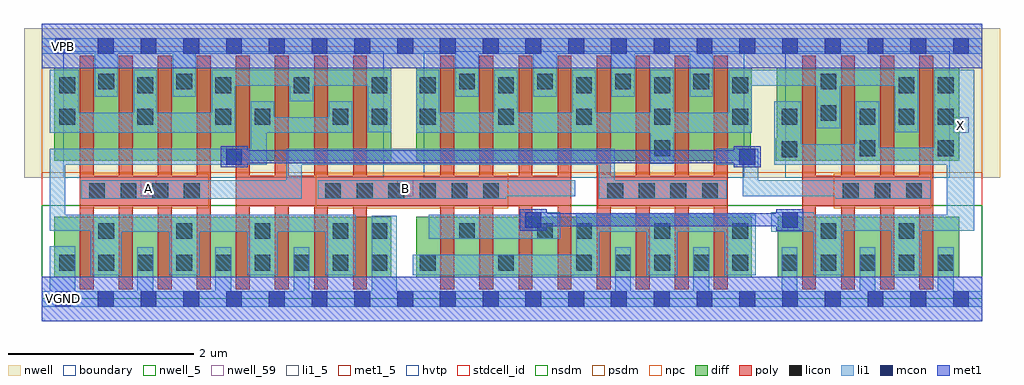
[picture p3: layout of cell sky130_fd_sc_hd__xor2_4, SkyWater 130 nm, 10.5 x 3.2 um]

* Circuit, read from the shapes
.subckt sky130_fd_sc_hd__xor2_4 A B VGND VNB VPB VPWR X
XM1 n1 A VGND VNB sky130_fd_pr__nfet_01v8 w=0.65 l=0.15 m=4
XM2 n1 B VGND VNB sky130_fd_pr__nfet_01v8 w=0.65 l=0.15 m=4
XM3 X B n2 VNB sky130_fd_pr__nfet_01v8 w=0.65 l=0.15 m=4
XM4 VGND A n2 VNB sky130_fd_pr__nfet_01v8 w=0.65 l=0.15 m=4
XM5 X n1 VGND VNB sky130_fd_pr__nfet_01v8 w=0.65 l=0.15 m=4
XM6 VPWR A n3 VPB sky130_fd_pr__pfet_01v8_hvt w=1 l=0.15 m=4
XM7 n1 B n3 VPB sky130_fd_pr__pfet_01v8_hvt w=1 l=0.15 m=4
XM8 VPWR B n4 VPB sky130_fd_pr__pfet_01v8_hvt w=1 l=0.15 m=4
XM9 VPWR A n4 VPB sky130_fd_pr__pfet_01v8_hvt w=1 l=0.15 m=4
XM10 n4 n1 X VPB sky130_fd_pr__pfet_01v8_hvt w=1 l=0.15 m=4
.ends

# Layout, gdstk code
import gdstk
lib = gdstk.Library(unit=1e-6, precision=1e-09)
def R(c, l, rs):  # rectangles x0, y0, x1, y1
    for r in rs: c.add(gdstk.rectangle(r[:2], r[2:], *l))
def A(c, l, x, y, w, h, nx, ny, dx, dy):  # array of equal rectangles
    R(c, l, [(x+i*dx, y+j*dy, x+i*dx+w, y+j*dy+h) for i in range(nx) for j in range(ny)])
nwell_5 = (64, 5)
nwell = (64, 20)
nwell_59 = (64, 59)
diff = (65, 20)
poly = (66, 20)
licon = (66, 44)
li1_5 = (67, 5)
li1 = (67, 20)
mcon = (67, 44)
met1_5 = (68, 5)
met1 = (68, 20)
hvtp = (78, 44)
stdcell_id = (81, 4)
nsdm = (93, 44)
psdm = (94, 20)
npc = (95, 20)
boundary = (235, 4)

sky130_fd_sc_hd__xor2_4 = lib.new_cell('sky130_fd_sc_hd__xor2_4')
R(sky130_fd_sc_hd__xor2_4, nwell_5, [(0.145,2.635,0.315,2.805)])
R(sky130_fd_sc_hd__xor2_4, nwell, [(-0.19,1.305,10.31,2.91)])
R(sky130_fd_sc_hd__xor2_4, nwell_59, [(0.145,-0.085,0.315,0.085)])
R(sky130_fd_sc_hd__xor2_4, diff, [(0.135,0.235,3.76,0.885), (4.03,0.235,7.64,0.885), (7.92,0.235,9.87,0.885), (0.135,1.485,3.76,2.485), (4.03,1.485,7.63,1.805), (7.9,1.485,9.87,1.73), (7.91,1.73,9.87,2.485), (4.03,1.805,7.64,2.485)])
A(sky130_fd_sc_hd__xor2_4, poly, 0.41, 0.105, 0.15, 0.89, 8, 1, 0.42, 0)
A(sky130_fd_sc_hd__xor2_4, poly, 4.29, 0.105, 0.15, 0.89, 8, 1, 0.42, 0)
A(sky130_fd_sc_hd__xor2_4, poly, 8.18, 0.105, 0.15, 0.89, 4, 1, 0.42, 0)
A(sky130_fd_sc_hd__xor2_4, poly, 0.41, 1.325, 0.15, 1.29, 8, 1, 0.42, 0)
A(sky130_fd_sc_hd__xor2_4, poly, 4.29, 1.325, 0.15, 1.29, 8, 1, 0.42, 0)
A(sky130_fd_sc_hd__xor2_4, poly, 8.18, 1.325, 0.15, 1.29, 4, 1, 0.42, 0)
R(sky130_fd_sc_hd__xor2_4, poly, [(0.41,0.995,1.82,1.325), (2.09,0.995,5.7,1.325), (5.97,0.995,7.38,1.325), (8.18,0.995,9.59,1.325)])
A(sky130_fd_sc_hd__xor2_4, licon, 0.19, 0.305, 0.17, 0.17, 9, 1, 0.42, 0)
A(sky130_fd_sc_hd__xor2_4, licon, 4.07, 0.305, 0.17, 0.17, 3, 1, 0.84, 0)
A(sky130_fd_sc_hd__xor2_4, licon, 6.17, 0.305, 0.17, 0.17, 4, 1, 0.42, 0)
A(sky130_fd_sc_hd__xor2_4, licon, 7.96, 0.305, 0.17, 0.17, 5, 1, 0.42, 0)
A(sky130_fd_sc_hd__xor2_4, licon, 0.61, 0.645, 0.17, 0.17, 4, 1, 0.84, 0)
A(sky130_fd_sc_hd__xor2_4, licon, 5.75, 0.645, 0.17, 0.17, 3, 1, 0.84, 0)
A(sky130_fd_sc_hd__xor2_4, licon, 0.51, 1.075, 0.17, 0.17, 4, 1, 0.34, 0)
A(sky130_fd_sc_hd__xor2_4, licon, 3.05, 1.075, 0.17, 0.17, 6, 1, 0.34, 0)
A(sky130_fd_sc_hd__xor2_4, licon, 6.085, 1.075, 0.17, 0.17, 4, 1, 0.34, 0)
A(sky130_fd_sc_hd__xor2_4, licon, 8.62, 1.075, 0.17, 0.17, 3, 1, 0.34, 0)
A(sky130_fd_sc_hd__xor2_4, licon, 0.19, 1.875, 0.17, 0.17, 3, 1, 0.84, 0)
A(sky130_fd_sc_hd__xor2_4, licon, 4.07, 1.875, 0.17, 0.17, 5, 2, 0.84, 0.34)
A(sky130_fd_sc_hd__xor2_4, licon, 8.8, 1.875, 0.17, 0.17, 3, 1, 0.42, 0)
A(sky130_fd_sc_hd__xor2_4, licon, 0.19, 2.215, 0.17, 0.17, 5, 1, 0.84, 0)
A(sky130_fd_sc_hd__xor2_4, licon, 4.49, 2.255, 0.17, 0.17, 4, 1, 0.84, 0)
R(sky130_fd_sc_hd__xor2_4, licon, [(3.55,0.645,3.72,0.815), (4.49,0.645,4.66,0.815), (5.33,0.645,5.5,0.815), (8.38,0.645,8.55,0.815), (9.22,0.645,9.39,0.815), (7.96,1.525,8.13,1.695), (6.59,1.535,6.76,1.705), (8.8,1.535,8.97,1.705), (9.64,1.535,9.81,1.705), (2.29,1.875,2.46,2.045), (3.13,1.875,3.3,2.045), (3.55,1.875,3.72,2.045), (7.96,1.875,8.13,2.045), (8.38,1.915,8.55,2.085), (9.22,2.215,9.39,2.385), (9.64,2.215,9.81,2.385), (0.61,2.255,0.78,2.425), (1.45,2.255,1.62,2.425), (8.38,2.255,8.55,2.425)])
R(sky130_fd_sc_hd__xor2_4, li1_5, [(1.065,1.105,1.235,1.275), (3.825,1.105,3.995,1.275), (9.805,1.785,9.975,1.955)])
A(sky130_fd_sc_hd__xor2_4, li1, 1.03, 0.085, 0.17, 0.47, 3, 1, 0.84, 0)
A(sky130_fd_sc_hd__xor2_4, li1, 7.96, 0.085, 0.17, 0.47, 3, 1, 0.84, 0)
A(sky130_fd_sc_hd__xor2_4, li1, 0.53, 0.255, 0.33, 0.47, 4, 1, 0.84, 0)
A(sky130_fd_sc_hd__xor2_4, li1, 4.03, 2.005, 0.25, 0.46, 4, 1, 0.84, 0)
A(sky130_fd_sc_hd__xor2_4, li1, 4.45, 2.175, 0.25, 0.46, 4, 1, 0.84, 0)
R(sky130_fd_sc_hd__xor2_4, li1, [(0,-0.085,10.12,0.085), (0.085,0.085,0.36,0.565), (3.55,0.085,3.82,0.895), (6.17,0.085,6.34,0.555), (7.01,0.085,7.18,0.555), (3.99,0.255,6,0.475), (6.51,0.255,6.84,0.725), (7.35,0.255,7.68,0.725), (8.3,0.255,8.63,0.725), (9.14,0.255,9.47,0.735), (5.75,0.475,6,0.725), (4.165,0.645,5.58,0.905), (0.53,0.725,3.38,0.735), (5.75,0.725,7.68,0.905), (7.85,0.725,8.63,0.735), (0.085,0.735,3.38,0.905), (7.85,0.735,10.035,0.905), (0.085,0.905,0.255,1.445), (5.15,0.905,5.58,0.935), (7.85,0.905,8.305,0.935), (9.735,0.905,10.035,1.445), (0.425,1.075,2.8,1.275), (2.97,1.075,5,1.105), (5.995,1.075,7.37,1.275), (8.54,1.075,9.565,1.105), (2.97,1.105,5.74,1.275), (7.54,1.105,9.565,1.275), (2.63,1.275,2.8,1.445), (5.995,1.275,6.165,1.445), (7.54,1.275,7.71,1.445), (0.085,1.445,2.42,1.615), (2.63,1.445,6.165,1.615), (7.26,1.445,7.71,1.615), (7.88,1.445,10.035,1.625), (6.55,1.455,6.8,1.785), (2.25,1.615,2.42,1.785), (7.88,1.625,9.01,1.665), (9.6,1.625,10.035,2.465), (7.88,1.665,8.17,2.125), (8.76,1.665,9.01,2.125), (0.085,1.785,2.08,2.005), (2.25,1.785,3.34,1.955), (4.03,1.785,7.64,2.005), (3.51,1.795,3.76,2.295), (9.18,1.795,9.43,2.295), (8.34,1.835,8.59,2.295), (2.25,1.955,2.5,2.125), (3.09,1.955,3.34,2.125), (0.085,2.005,0.4,2.465), (0.99,2.005,1.24,2.465), (1.83,2.005,2.08,2.295), (7.39,2.005,7.64,2.295), (2.67,2.125,2.92,2.295), (0.57,2.175,0.82,2.635), (1.41,2.175,1.66,2.635), (1.83,2.295,3.76,2.465), (7.39,2.295,9.43,2.465), (0,2.635,10.12,2.805)])
A(sky130_fd_sc_hd__xor2_4, mcon, 0.145, -0.085, 0.17, 0.17, 22, 2, 0.46, 2.72)
R(sky130_fd_sc_hd__xor2_4, mcon, [(5.205,0.765,5.375,0.935), (7.965,0.765,8.135,0.935), (1.985,1.445,2.155,1.615), (7.505,1.445,7.675,1.615)])
R(sky130_fd_sc_hd__xor2_4, met1_5, [(0.145,-0.085,0.315,0.085), (0.145,2.635,0.315,2.805)])
R(sky130_fd_sc_hd__xor2_4, met1, [(0,-0.24,10.12,0.24), (5.145,0.735,5.435,0.78), (7.905,0.735,8.195,0.78), (5.145,0.78,8.195,0.92), (5.145,0.92,5.435,0.965), (7.905,0.92,8.195,0.965), (1.925,1.415,2.215,1.46), (7.445,1.415,7.735,1.46), (1.925,1.46,7.735,1.6), (1.925,1.6,2.215,1.645), (7.445,1.6,7.735,1.645), (0,2.48,10.12,2.96)])
R(sky130_fd_sc_hd__xor2_4, hvtp, [(0.23,1.305,3.68,2.665), (4.11,1.305,7.56,2.665), (8,1.305,9.77,2.665)])
R(sky130_fd_sc_hd__xor2_4, stdcell_id, [(0,0,10.12,2.72)])
R(sky130_fd_sc_hd__xor2_4, nsdm, [(0,0,10.12,1.01)])
R(sky130_fd_sc_hd__xor2_4, psdm, [(0,1.36,10.12,2.72)])
R(sky130_fd_sc_hd__xor2_4, npc, [(0.41,0.975,1.8,1.345), (2.95,0.975,5.02,1.345), (5.985,0.975,7.375,1.345), (8.52,0.975,9.57,1.345)])
R(sky130_fd_sc_hd__xor2_4, boundary, [(0,0,10.12,2.72)])
sky130_fd_sc_hd__xor2_4.add(gdstk.Label('A', (1.15,1.19), layer=67, texttype=5))
sky130_fd_sc_hd__xor2_4.add(gdstk.Label('B', (3.91,1.19), layer=67, texttype=5))
sky130_fd_sc_hd__xor2_4.add(gdstk.Label('VGND', (0.23,0), layer=68, texttype=5))
sky130_fd_sc_hd__xor2_4.add(gdstk.Label('VNB', (0.23,0), layer=64, texttype=59))
sky130_fd_sc_hd__xor2_4.add(gdstk.Label('VPB', (0.23,2.72), layer=64, texttype=5))
sky130_fd_sc_hd__xor2_4.add(gdstk.Label('VPWR', (0.23,2.72), layer=68, texttype=5))
sky130_fd_sc_hd__xor2_4.add(gdstk.Label('X', (9.89,1.87), layer=67, texttype=5))

lib.write_gds('sky130_fd_sc_hd__xor2_4.gds')
